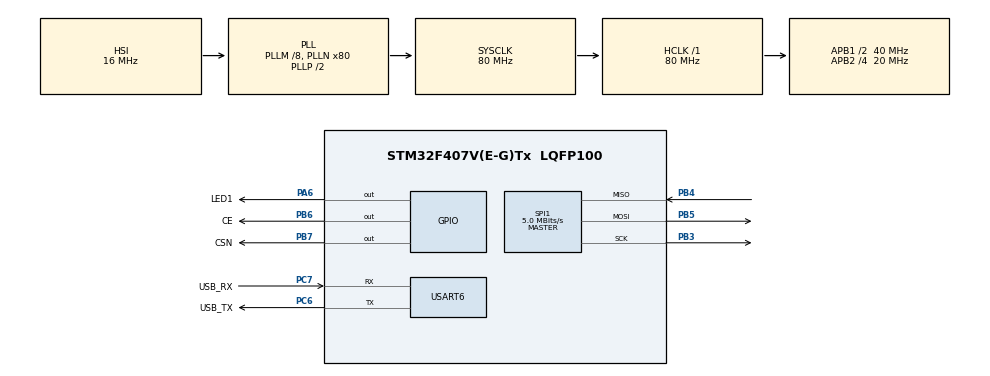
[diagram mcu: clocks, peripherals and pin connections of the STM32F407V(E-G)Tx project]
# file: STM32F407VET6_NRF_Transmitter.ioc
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Mcu.Family=STM32F4
Mcu.Name=STM32F407V(E-G)Tx
Mcu.Package=LQFP100
NVIC.PriorityGroup=NVIC_PRIORITYGROUP_4
PA6.GPIO_Label=LED1
PA6.Signal=GPIO_Output
PB3.Mode=Full_Duplex_Master
PB3.Signal=SPI1_SCK
PB4.Mode=Full_Duplex_Master
PB4.Signal=SPI1_MISO
PB5.Mode=Full_Duplex_Master
PB5.Signal=SPI1_MOSI
PB6.GPIO_Label=CE
PB6.GPIO_Speed=GPIO_SPEED_FREQ_HIGH
PB6.Signal=GPIO_Output
PB7.GPIO_Label=CSN
PB7.GPIO_Speed=GPIO_SPEED_FREQ_HIGH
PB7.Signal=GPIO_Output
PC6.GPIO_Label=USB_TX
PC6.Mode=Asynchronous
PC6.Signal=USART6_TX
PC7.GPIO_Label=USB_RX
PC7.Mode=Asynchronous
PC7.Signal=USART6_RX
PH0-OSC_IN.Mode=HSE-External-Oscillator
PH0-OSC_IN.Signal=RCC_OSC_IN
PH1-OSC_OUT.Mode=HSE-External-Oscillator
PH1-OSC_OUT.Signal=RCC_OSC_OUT
ProjectManager.HeapSize=0x200
ProjectManager.StackSize=0x400
ProjectManager.TargetToolchain=STM32CubeIDE
RCC.48MHZClocksFreq_Value=40000000
RCC.AHBFreq_Value=80000000
RCC.APB1CLKDivider=RCC_HCLK_DIV2
RCC.APB1Freq_Value=40000000
RCC.APB1TimFreq_Value=80000000
RCC.APB2CLKDivider=RCC_HCLK_DIV4
RCC.APB2Freq_Value=20000000
RCC.APB2TimFreq_Value=40000000
RCC.CortexFreq_Value=80000000
RCC.HCLKFreq_Value=80000000
RCC.HSE_VALUE=25000000
RCC.HSI_VALUE=16000000
RCC.LSE_VALUE=32768
RCC.PLLM=8
RCC.PLLN=80
RCC.SYSCLKFreq_VALUE=80000000
RCC.SYSCLKSource=RCC_SYSCLKSOURCE_PLLCLK
RCC.VCOOutputFreq_Value=160000000
SPI1.BaudRatePrescaler=SPI_BAUDRATEPRESCALER_4
SPI1.CalculateBaudRate=5.0 MBits/s
SPI1.Direction=SPI_DIRECTION_2LINES
SPI1.Mode=SPI_MODE_MASTER
SPI1.VirtualType=VM_MASTER
USART6.VirtualMode=VM_ASYNC
board=custom

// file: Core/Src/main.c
/* USER CODE BEGIN Header */
/**
  ******************************************************************************
  * @file           : main.c
  * @brief          : Main program body
  ******************************************************************************
  * @attention
  *
  * Copyright (c) 2024 STMicroelectronics.
  * All rights reserved.
  *
  * This software is licensed under terms that can be found in the LICENSE file
  * in the root directory of this software component.
  * If no LICENSE file comes with this software, it is provided AS-IS.
  *
  ******************************************************************************
  */
/* USER CODE END Header */
#include "main.h"

/* USER CODE BEGIN Includes */
#include <string.h>
/* USER CODE END Includes */

/* USER CODE BEGIN PTD */
typedef struct {
	char control;
	float vx, vy, vw;
	char solenoidPower;
	uint16_t crc;
} ControlPacket;
/* USER CODE END PTD */

SPI_HandleTypeDef hspi1;

UART_HandleTypeDef huart6;

/* USER CODE BEGIN PV */
uint8_t TxAdress[] = {'A','S','U','R','T'};
uint8_t buffer[4];
uint8_t fodase[24];
ControlPacket controlPacket;
ControlPacket controlPackets[6];

int offset = 0;
int begin = 0;
int counter = 20;
/* USER CODE END PV */

void SystemClock_Config(void);
static void MX_GPIO_Init(void);
static void MX_SPI1_Init(void);
static void MX_USART6_UART_Init(void);

/* USER CODE BEGIN 0 */
void USART6_Receive(uint8_t *_buffer)
{
	HAL_UART_Receive(&huart6, _buffer, sizeof(_buffer), HAL_MAX_DELAY);
}
/* USER CODE END 0 */

int main(void)
{
  /* USER CODE BEGIN 1 */
	controlPacket.control = 1;
	controlPacket.vx = 0;
	controlPacket.vy = 0;
	controlPacket.vw = 0;
	controlPacket.solenoidPower = 2;
	controlPacket.crc = 4;
//	memcpy(buffer, &controlPacket, sizeof(ControlPacket));
  /* USER CODE END 1 */

  /* MCU Configuration--------------------------------------------------------*/

  /* Reset of all peripherals, Initializes the Flash interface and the Systick. */
  HAL_Init();

  /* Configure the system clock */
  SystemClock_Config();

  /* Initialize all configured peripherals */
  MX_GPIO_Init();
  MX_SPI1_Init();
  MX_USART6_UART_Init();
  /* USER CODE BEGIN 2 */
  HAL_NRF24_init();
  HAL_NRF24_TXModeConfig(TxAdress,123);
  /* USER CODE END 2 */

  /* Infinite loop */
  /* USER CODE BEGIN WHILE */
  while (1)
  {
//	  HAL_NRF24_transmitData(buffer);
//	  HAL_Delay(100);
//
//	  controlPacket.vx++;
//	  memcpy(buffer, &controlPacket, sizeof(ControlPacket));

	  USART6_Receive(buffer);

	  for (int i = 0; i < 4; i++)
	  {
		  fodase[i + offset] = buffer[i];
	  }
	  offset += 4;

	  if (offset >= 24) {
		  // find begin of data
		  	  for (int i=0;i<sizeof(fodase) - 1; i++){
		  		  	 if(fodase[i] == '<' && fodase[i+1] == '<'){
		  		  		 begin = (i+2)%24;
		  		  	 }
		  	  }
		  	  if(fodase[0] == '<' && fodase[23] == '<'){
		  		  begin = 1;
		  	  }

		  	  // extract data from raw buffer
		  	  uint8_t bufferTmp[20];
			  for (int i = 0; i < 20; i++)
			  {
				  bufferTmp[i] = fodase[(begin + i) % 24];
			  }

			  // transmit data
			  HAL_NRF24_transmitData(bufferTmp);
			  memcpy(&controlPacket, bufferTmp, sizeof(ControlPacket));
			  offset = 0;
	  }

//	  HAL_Delay(50);
    /* USER CODE END WHILE */

  }
}

void SystemClock_Config(void)
{
  RCC_OscInitTypeDef RCC_OscInitStruct = {0};
  RCC_ClkInitTypeDef RCC_ClkInitStruct = {0};

  /** Configure the main internal regulator output voltage
  */
  __HAL_RCC_PWR_CLK_ENABLE();
  __HAL_PWR_VOLTAGESCALING_CONFIG(PWR_REGULATOR_VOLTAGE_SCALE1);

  /** Initializes the RCC Oscillators according to the specified parameters
  * in the RCC_OscInitTypeDef structure.
  */
  RCC_OscInitStruct.OscillatorType = RCC_OSCILLATORTYPE_HSI;
  RCC_OscInitStruct.HSIState = RCC_HSI_ON;
  RCC_OscInitStruct.HSICalibrationValue = RCC_HSICALIBRATION_DEFAULT;
  RCC_OscInitStruct.PLL.PLLState = RCC_PLL_ON;
  RCC_OscInitStruct.PLL.PLLSource = RCC_PLLSOURCE_HSI;
  RCC_OscInitStruct.PLL.PLLM = 8;
  RCC_OscInitStruct.PLL.PLLN = 80;
  RCC_OscInitStruct.PLL.PLLP = RCC_PLLP_DIV2;
  RCC_OscInitStruct.PLL.PLLQ = 4;
  if (HAL_RCC_OscConfig(&RCC_OscInitStruct) != HAL_OK)
  {
    Error_Handler();
  }

  /** Initializes the CPU, AHB and APB buses clocks
  */
  RCC_ClkInitStruct.ClockType = RCC_CLOCKTYPE_HCLK|RCC_CLOCKTYPE_SYSCLK
                              |RCC_CLOCKTYPE_PCLK1|RCC_CLOCKTYPE_PCLK2;
  RCC_ClkInitStruct.SYSCLKSource = RCC_SYSCLKSOURCE_PLLCLK;
  RCC_ClkInitStruct.AHBCLKDivider = RCC_SYSCLK_DIV1;
  RCC_ClkInitStruct.APB1CLKDivider = RCC_HCLK_DIV2;
  RCC_ClkInitStruct.APB2CLKDivider = RCC_HCLK_DIV4;

  if (HAL_RCC_ClockConfig(&RCC_ClkInitStruct, FLASH_LATENCY_2) != HAL_OK)
  {
    Error_Handler();
  }
}

static void MX_SPI1_Init(void)
{

  /* SPI1 parameter configuration*/
  hspi1.Instance = SPI1;
  hspi1.Init.Mode = SPI_MODE_MASTER;
  hspi1.Init.Direction = SPI_DIRECTION_2LINES;
  hspi1.Init.DataSize = SPI_DATASIZE_8BIT;
  hspi1.Init.CLKPolarity = SPI_POLARITY_LOW;
  hspi1.Init.CLKPhase = SPI_PHASE_1EDGE;
  hspi1.Init.NSS = SPI_NSS_SOFT;
  hspi1.Init.BaudRatePrescaler = SPI_BAUDRATEPRESCALER_4;
  hspi1.Init.FirstBit = SPI_FIRSTBIT_MSB;
  hspi1.Init.TIMode = SPI_TIMODE_DISABLE;
  hspi1.Init.CRCCalculation = SPI_CRCCALCULATION_DISABLE;
  hspi1.Init.CRCPolynomial = 10;
  if (HAL_SPI_Init(&hspi1) != HAL_OK)
  {
    Error_Handler();
  }

}

static void MX_USART6_UART_Init(void)
{

  huart6.Instance = USART6;
  huart6.Init.BaudRate = 115200;
  huart6.Init.WordLength = UART_WORDLENGTH_8B;
  huart6.Init.StopBits = UART_STOPBITS_1;
  huart6.Init.Parity = UART_PARITY_NONE;
  huart6.Init.Mode = UART_MODE_TX_RX;
  huart6.Init.HwFlowCtl = UART_HWCONTROL_NONE;
  huart6.Init.OverSampling = UART_OVERSAMPLING_16;
  if (HAL_UART_Init(&huart6) != HAL_OK)
  {
    Error_Handler();
  }

}

static void MX_GPIO_Init(void)
{
  GPIO_InitTypeDef GPIO_InitStruct = {0};

  /* GPIO Ports Clock Enable */
  __HAL_RCC_GPIOH_CLK_ENABLE();
  __HAL_RCC_GPIOA_CLK_ENABLE();
  __HAL_RCC_GPIOC_CLK_ENABLE();
  __HAL_RCC_GPIOB_CLK_ENABLE();

  /*Configure GPIO pin Output Level */
  HAL_GPIO_WritePin(LED1_GPIO_Port, LED1_Pin, GPIO_PIN_RESET);

  /*Configure GPIO pin Output Level */
  HAL_GPIO_WritePin(GPIOB, CE_Pin|CSN_Pin, GPIO_PIN_RESET);

  /*Configure GPIO pin : LED1_Pin */
  GPIO_InitStruct.Pin = LED1_Pin;
  GPIO_InitStruct.Mode = GPIO_MODE_OUTPUT_PP;
  GPIO_InitStruct.Pull = GPIO_NOPULL;
  GPIO_InitStruct.Speed = GPIO_SPEED_FREQ_LOW;
  HAL_GPIO_Init(LED1_GPIO_Port, &GPIO_InitStruct);

  /*Configure GPIO pins : CE_Pin CSN_Pin */
  GPIO_InitStruct.Pin = CE_Pin|CSN_Pin;
  GPIO_InitStruct.Mode = GPIO_MODE_OUTPUT_PP;
  GPIO_InitStruct.Pull = GPIO_NOPULL;
  GPIO_InitStruct.Speed = GPIO_SPEED_FREQ_HIGH;
  HAL_GPIO_Init(GPIOB, &GPIO_InitStruct);

}

void Error_Handler(void)
{
  __disable_irq();
  while (1)
  {
  }
}
